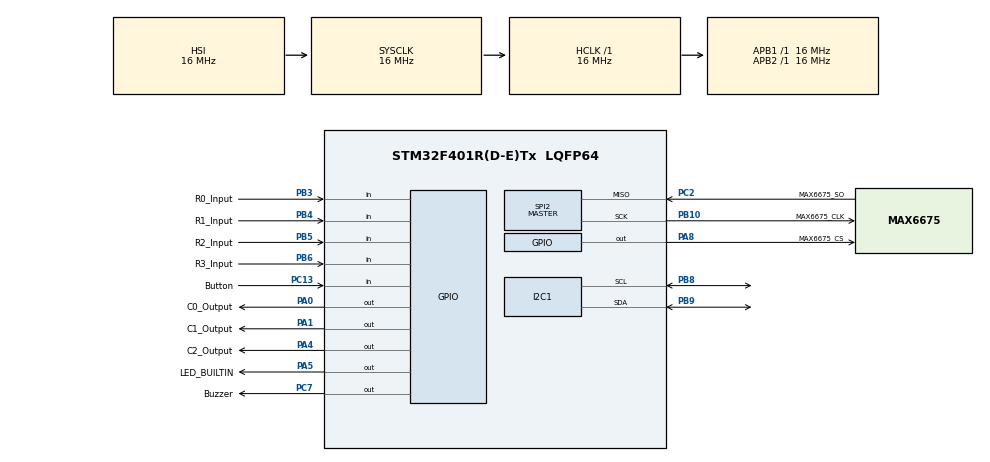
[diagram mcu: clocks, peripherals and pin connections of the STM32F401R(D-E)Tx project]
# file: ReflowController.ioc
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Mcu.Family=STM32F4
Mcu.Name=STM32F401R(D-E)Tx
Mcu.Package=LQFP64
NVIC.PriorityGroup=NVIC_PRIORITYGROUP_4
PA0-WKUP.GPIO_Label=C0_Output
PA0-WKUP.Signal=GPIO_Output
PA1.GPIO_Label=C1_Output
PA1.Signal=GPIO_Output
PA4.GPIO_Label=C2_Output
PA4.Signal=GPIO_Output
PA5.GPIO_Label=LED_BUILTIN
PA5.Signal=GPIO_Output
PA8.GPIO_Label=MAX6675_CS
PA8.GPIO_PuPd=GPIO_NOPULL
PA8.PinState=GPIO_PIN_SET
PA8.Signal=GPIO_Output
PB10.GPIO_Label=MAX6675_CLK
PB10.Mode=RX_Only_Simplex_Unidirect_Master
PB10.Signal=SPI2_SCK
PB3.GPIO_Label=R0_Input
PB3.GPIO_PuPd=GPIO_PULLDOWN
PB3.Signal=GPIO_Input
PB4.GPIO_Label=R1_Input
PB4.GPIO_PuPd=GPIO_PULLDOWN
PB4.Signal=GPIO_Input
PB5.GPIO_Label=R2_Input
PB5.GPIO_PuPd=GPIO_PULLDOWN
PB5.Signal=GPIO_Input
PB6.GPIO_Label=R3_Input
PB6.GPIO_PuPd=GPIO_PULLDOWN
PB6.Signal=GPIO_Input
PB8.Mode=I2C
PB8.Signal=I2C1_SCL
PB9.Mode=I2C
PB9.Signal=I2C1_SDA
PC13-ANTI_TAMP.GPIO_Label=Button
PC13-ANTI_TAMP.Signal=GPIO_Input
PC2.GPIO_Label=MAX6675_SO
PC2.Mode=RX_Only_Simplex_Unidirect_Master
PC2.Signal=SPI2_MISO
PC7.GPIO_Label=Buzzer
PC7.Signal=GPIO_Output
ProjectManager.HeapSize=0x200
ProjectManager.StackSize=0x400
ProjectManager.TargetToolchain=STM32CubeIDE
RCC.AHBFreq_Value=16000000
RCC.APB1Freq_Value=16000000
RCC.APB2Freq_Value=16000000
RCC.CortexFreq_Value=16000000
RCC.HSE_VALUE=25000000
RCC.HSI_VALUE=16000000
RCC.LSE_VALUE=32768
RCC.SYSCLKFreq_VALUE=16000000
RCC.VCOOutputFreq_Value=192000000
SPI2.BaudRatePrescaler=SPI_BAUDRATEPRESCALER_32
SPI2.Direction=SPI_DIRECTION_2LINES_RXONLY
SPI2.Mode=SPI_MODE_MASTER
SPI2.VirtualType=VM_MASTER
board=custom

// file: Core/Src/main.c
/* USER CODE BEGIN Header */
/**
  ******************************************************************************
  * @file           : main.c
  * @brief          : Main program body
  ******************************************************************************
  * @attention
  *
  * Copyright (c) 2025 STMicroelectronics.
  * All rights reserved.
  *
  * This software is licensed under terms that can be found in the LICENSE file
  * in the root directory of this software component.
  * If no LICENSE file comes with this software, it is provided AS-IS.
  *
  ******************************************************************************
  */
/* USER CODE END Header */
#include "main.h"

/* USER CODE BEGIN Includes */
#include "ssd1306_font5x7.h"
#include "ssd1306_font_num16x24.h"
#include <stdbool.h>
/* USER CODE END Includes */

/* USER CODE BEGIN PTD */
typedef enum
{
	STATE_INIT = 0,
	STATE_IDLE,
	STATE_CONFIG_PREHEAT,
	STATE_CONFIG_SOAK,
	STATE_CONFIG_REFLOW,
	STATE_CONFIG_COOLDOWN,
	STATE_CYCLE,
	STATE_STOP
} deviceState_t;
static deviceState_t currentDeviceState = STATE_INIT;

typedef enum
{
	STATE_CYCLE_INIT = 0,
	STATE_CYCLE_PREHEAT,
	STATE_CYCLE_SOAK,
	STATE_CYCLE_REFLOW,
	STATE_CYCLE_COOLDOWN
} cycleState_t;
static cycleState_t currentCycleState = STATE_CYCLE_INIT;
/* USER CODE END PTD */

I2C_HandleTypeDef hi2c1;

SPI_HandleTypeDef hspi2;

/* USER CODE BEGIN PV */
#define SSD1306_ADDR (0x3C << 1)	// I2C address for the OLED display controller

// Parameters for default curve
int preheat_target_c = 150;
int preheat_rate = 3;
int preheat_time_s = 100;
int soak_target_c = 150;
int soak_time_s = 100;
int reflow_peak_c = 240;
int reflow_peak_time_s = 10;
int reflow_total_time_s = 50;
int cooldown_rate = 4;
bool cooldown_door = true;

/**
uint32_t lastMillis_LED = 0;
#define DELAY_FAST_MS 50
#define DELAY_SLOW_MS 600

// While we do our scan we need to know if nothing ever came up
bool buttonPressed = false;

// This stores the last button presses detected
#define BUFFER_SIZE 5
int buffer[BUFFER_SIZE];
int finalBuffer[BUFFER_SIZE];
int bufferIdx = 0;
bool addedToBuffer = false;

uint32_t lastMillis_DisplayBuffer = 0;
#define BUF_DISP_INT_MS 10
**/
/* USER CODE END PV */

void SystemClock_Config(void);
static void MX_GPIO_Init(void);
static void MX_I2C1_Init(void);
static void MX_SPI2_Init(void);
/* USER CODE BEGIN PFP */
void float_to_string_1dp(float value, char *buffer);
uint16_t MAX6675_ReadRaw(void);
float MAX6675_ReadTempC(void);
void ssd1306_draw_big_digit(uint8_t x, uint8_t page, uint8_t digit);
void ssd1306_draw_big_number(uint8_t x, uint8_t page, uint32_t value);
void ssd1306_draw_char(uint8_t x, uint8_t page, char c);
void ssd1306_draw_string(uint8_t x, uint8_t page, const char *str);
void ssd1306_cmd(uint8_t cmd);
void ssd1306_data(uint8_t *data, size_t size);
void ssd1306_init(void);
void ssd1306_clear(void);
void ssd1306_char(uint8_t x, uint8_t page, const uint8_t *glyph);
/* USER CODE END PFP */

/* USER CODE BEGIN 0 */
void float_to_string_1dp(float value, char *buffer)
{
    int scaled = (int)(value * 10.0f);

    int int_part = scaled / 10;
    int frac_part = scaled % 10;

    if (frac_part < 0) frac_part = -frac_part;

    itoa(int_part, buffer, 10);

    int len = strlen(buffer);
    buffer[len] = '.';
    buffer[len + 1] = '0' + frac_part;
    buffer[len + 2] = '\0';
}

uint16_t MAX6675_ReadRaw(void)
{
    uint8_t rx[2] = {0};

    HAL_GPIO_WritePin(MAX6675_CS_GPIO_Port, MAX6675_CS_Pin, false);
    HAL_Delay(10);

    HAL_SPI_Receive(&hspi2, rx, 2, 100);

    HAL_GPIO_WritePin(MAX6675_CS_GPIO_Port, MAX6675_CS_Pin, true);

    printf((rx[0] << 8) | rx[1]);
    return (rx[0] << 8) | rx[1];
}

float MAX6675_ReadTempC(void)
{
    uint16_t raw = MAX6675_ReadRaw();

    if (raw & 0x4)
        return -1.0f;   // thermocouple open

    raw >>= 3;

    return raw * 0.25f;
}

void ssd1306_draw_big_digit(uint8_t x, uint8_t page, uint8_t digit)
{
    if (digit > 9)
        return;

    for (uint8_t p = 0; p < NUM_FONT_PAGES; p++)
    {
        ssd1306_cmd(0xB0 + page + p);
        ssd1306_cmd(0x00 + (x & 0x0F));
        ssd1306_cmd(0x10 + (x >> 4));

        ssd1306_data(
            (uint8_t *)font_num_16x24[digit][p],
            NUM_FONT_WIDTH
        );
    }
}

void ssd1306_draw_big_number(uint8_t x, uint8_t page, uint32_t value)
{
    char buf[10];
    snprintf(buf, sizeof(buf), "%lu", value);

    while (*buf)
    {
        ssd1306_draw_big_digit(x, page, *buf - '0');
        x += NUM_FONT_WIDTH + 2;  // spacing
        //buf++;
    }
}

void ssd1306_draw_string(uint8_t x, uint8_t page, const char *str)
{
    while (*str)
    {
        ssd1306_draw_char(x, page, *str++);
        x += 6;  // 5px glyph + 1px space

        if (x > 122)
            break;
    }
}

void ssd1306_draw_char(uint8_t x, uint8_t page, char c)
{
    if (c < 0x20 || c > 0x7E)
        c = '?';

    const uint8_t *glyph = font5x7[c - 0x20];

    ssd1306_cmd(0xB0 + page);
    ssd1306_cmd(0x00 + (x & 0x0F));
    ssd1306_cmd(0x10 + (x >> 4));

    ssd1306_data((uint8_t *)glyph, 5);

    uint8_t space = 0x00;
    ssd1306_data(&space, 1); // 1px spacing
}

void ssd1306_cmd(uint8_t cmd)
{
    uint8_t data[2] = {0x00, cmd};
    HAL_I2C_Master_Transmit(&hi2c1, SSD1306_ADDR, data, 2, HAL_MAX_DELAY);
}

void ssd1306_data(uint8_t *data, size_t size)
{
    uint8_t buf[129];
    buf[0] = 0x40;
    memcpy(&buf[1], data, size);
    HAL_I2C_Master_Transmit(&hi2c1, SSD1306_ADDR, buf, size + 1, HAL_MAX_DELAY);
}

void ssd1306_init(void)
{
    HAL_Delay(100);

    ssd1306_cmd(0xAE); // display off
    ssd1306_cmd(0x20); // memory addressing mode
    ssd1306_cmd(0x00); // horizontal addressing
    ssd1306_cmd(0xB0); // page start address
    ssd1306_cmd(0xC8); // COM scan direction
    ssd1306_cmd(0x00); // low column
    ssd1306_cmd(0x10); // high column
    ssd1306_cmd(0x40); // start line
    ssd1306_cmd(0x81); // contrast
    ssd1306_cmd(0x7F);
    ssd1306_cmd(0xA1); // segment remap
    ssd1306_cmd(0xA6); // normal display
    ssd1306_cmd(0xA8); // multiplex
    ssd1306_cmd(0x3F);
    ssd1306_cmd(0xA4); // display follows RAM
    ssd1306_cmd(0xD3); // display offset
    ssd1306_cmd(0x00);
    ssd1306_cmd(0xD5); // clock divide
    ssd1306_cmd(0x80);
    ssd1306_cmd(0xD9); // pre-charge
    ssd1306_cmd(0xF1);
    ssd1306_cmd(0xDA); // COM pins
    ssd1306_cmd(0x12);
    ssd1306_cmd(0xDB); // vcom detect
    ssd1306_cmd(0x40);
    ssd1306_cmd(0x8D); // charge pump
    ssd1306_cmd(0x14);
    ssd1306_cmd(0xAF); // display ON
}

void ssd1306_clear(void)
{
    uint8_t zero[128] = {0};

    for (uint8_t page = 0; page < 8; page++)
    {
        ssd1306_cmd(0xB0 + page);
        ssd1306_cmd(0x00);
        ssd1306_cmd(0x10);
        ssd1306_data(zero, 128);
    }
}

void ssd1306_char(uint8_t x, uint8_t page, const uint8_t *glyph)
{
    ssd1306_cmd(0xB0 + page);
    ssd1306_cmd(0x00 + (x & 0x0F));
    ssd1306_cmd(0x10 + (x >> 4));
    ssd1306_data((uint8_t *)glyph, 5);
}

/* USER CODE END 0 */

int main(void)
{

  /* MCU Configuration--------------------------------------------------------*/

  /* Reset of all peripherals, Initializes the Flash interface and the Systick. */
  HAL_Init();

  /* Configure the system clock */
  SystemClock_Config();

  /* Initialize all configured peripherals */
  MX_GPIO_Init();
  MX_I2C1_Init();
  MX_SPI2_Init();
  /* USER CODE BEGIN 2 */
  ssd1306_init();
  ssd1306_clear();
  /* USER CODE END 2 */

  /* Infinite loop */
  /* USER CODE BEGIN WHILE */
  while (1)
  {
	  // Main device state machine
	  switch (currentDeviceState)
	  {
	  case STATE_INIT:					// Init, first time tasks
		  ssd1306_clear();
		  ssd1306_draw_string(0,0,"REFLOW CONTROLLER");
		  ssd1306_draw_string(0,1,"MICHAEL PATE V2.0");
		  ssd1306_draw_string(0,3,"PRESS START");
		  currentDeviceState = STATE_IDLE;
		  break;
	  case STATE_IDLE:					// Waiting for user to do something
		  // testing, display temperature
		  float temp;
		  temp = 215.7f;
		  //temp = MAX6675_ReadTempC();

		  char text[5];

		  float_to_string_1dp(temp, text);
		  ssd1306_draw_string(0, 4, "      ");
		  ssd1306_draw_string(0, 4, text);
		  HAL_Delay(500);

		  //C0, R3 = START
		  HAL_GPIO_WritePin(C0_Output_GPIO_Port, C0_Output_Pin, true);
		  if (HAL_GPIO_ReadPin(R3_Input_GPIO_Port, R3_Input_Pin))
		  {
			  ssd1306_clear();
			  currentDeviceState = STATE_CONFIG_PREHEAT;
		  }
		  break;
	  case STATE_CONFIG_PREHEAT:				// Configure the reflow cycle, choose curves, times, temps
		  //We need to either choose a default curve or make our own

		  // Default curve settings
		  // Preheat: 150*C, <3*C/sec, 100sec
		  // Soak: 150*C, 120sec
		  // Reflow: Peak 240*C, >45sec above 217*C minimum, peak temp only 10 seconds
		  // Cooldown: 2-4*C/sec, recommend door slightly open

		  // Editing curves come in later edition
		  ssd1306_draw_string(0,0,"CONFIGURE PREHEAT");
		  ssd1306_draw_string(0,1,"------------------");
		  ssd1306_draw_string(0,2,"TARGET: 150*C");
		  ssd1306_draw_string(0,3,"RATE:     3");
		  ssd1306_draw_string(0,4,"TIME:   100SEC");
		  ssd1306_draw_string(0,7,"PRESS START OR STOP");

		  // Scan for either the start or stop button to go forward or backward
		  HAL_GPIO_WritePin(C0_Output_GPIO_Port, C0_Output_Pin, true);
		  HAL_GPIO_WritePin(C2_Output_GPIO_Port, C2_Output_Pin, false);
		  if (HAL_GPIO_ReadPin(R3_Input_GPIO_Port, R3_Input_Pin))
		  {
			  ssd1306_clear();
			  currentDeviceState = STATE_CONFIG_SOAK;
		  }
		  HAL_GPIO_WritePin(C0_Output_GPIO_Port, C0_Output_Pin, false);
		  HAL_GPIO_WritePin(C2_Output_GPIO_Port, C2_Output_Pin, true);
		  if (HAL_GPIO_ReadPin(R3_Input_GPIO_Port, R3_Input_Pin))
		  {
			  ssd1306_clear();
			  currentDeviceState = STATE_INIT;
		  }
		  break;
	  case STATE_CONFIG_SOAK:
		  ssd1306_draw_string(0,0,"CONFIGURE SOAK");
		  ssd1306_draw_string(0,1,"------------------");
		  ssd1306_draw_string(0,2,"TARGET: 150*C");
		  ssd1306_draw_string(0,3,"TIME:   100SEC");
		  ssd1306_draw_string(0,7,"PRESS START OR STOP");
		  HAL_GPIO_WritePin(C0_Output_GPIO_Port, C0_Output_Pin, true);
		  HAL_GPIO_WritePin(C2_Output_GPIO_Port, C2_Output_Pin, false);
		  if (HAL_GPIO_ReadPin(R3_Input_GPIO_Port, R3_Input_Pin))
		  {
			  ssd1306_clear();
			  currentDeviceState = STATE_CONFIG_REFLOW;
		  }
		  HAL_GPIO_WritePin(C0_Output_GPIO_Port, C0_Output_Pin, false);
		  HAL_GPIO_WritePin(C2_Output_GPIO_Port, C2_Output_Pin, true);
		  if (HAL_GPIO_ReadPin(R3_Input_GPIO_Port, R3_Input_Pin))
		  {
			  ssd1306_clear();
			  currentDeviceState = STATE_CONFIG_PREHEAT;
		  }
		  break;
	  case STATE_CONFIG_REFLOW:
		  ssd1306_draw_string(0,0,"CONFIGURE REFLOW");
		  ssd1306_draw_string(0,1,"------------------");
		  ssd1306_draw_string(0,2,"TARGET: 240*C");
		  ssd1306_draw_string(0,3,"PEAK:    10SEC");
		  ssd1306_draw_string(0,4,"TOTAL:   50SEC");
		  ssd1306_draw_string(0,7,"PRESS START OR STOP");
		  HAL_GPIO_WritePin(C0_Output_GPIO_Port, C0_Output_Pin, true);
		  HAL_GPIO_WritePin(C2_Output_GPIO_Port, C2_Output_Pin, false);
		  if (HAL_GPIO_ReadPin(R3_Input_GPIO_Port, R3_Input_Pin))
		  {
			  ssd1306_clear();
			  currentDeviceState = STATE_CONFIG_COOLDOWN;
		  }
		  HAL_GPIO_WritePin(C0_Output_GPIO_Port, C0_Output_Pin, false);
		  HAL_GPIO_WritePin(C2_Output_GPIO_Port, C2_Output_Pin, true);
		  if (HAL_GPIO_ReadPin(R3_Input_GPIO_Port, R3_Input_Pin))
		  {
			  ssd1306_clear();
			  currentDeviceState = STATE_CONFIG_SOAK;
		  }
		  break;
	  case STATE_CONFIG_COOLDOWN:
		  ssd1306_draw_string(0,0,"CONFIGURE COOLDOWN");
		  ssd1306_draw_string(0,1,"------------------");
		  ssd1306_draw_string(0,2,"RATE:     4");
		  ssd1306_draw_string(0,3,"DOOR:  OPEN");
		  ssd1306_draw_string(0,5,"READY TO REFLOW");
		  ssd1306_draw_string(0,6,"CYCLE WILL START NEXT");
		  ssd1306_draw_string(0,7,"PRESS START OR STOP");
		  HAL_GPIO_WritePin(C0_Output_GPIO_Port, C0_Output_Pin, true);
		  HAL_GPIO_WritePin(C2_Output_GPIO_Port, C2_Output_Pin, false);
		  if (HAL_GPIO_ReadPin(R3_Input_GPIO_Port, R3_Input_Pin))
		  {
			  ssd1306_clear();
			  currentDeviceState = STATE_CYCLE;
		  }
		  HAL_GPIO_WritePin(C0_Output_GPIO_Port, C0_Output_Pin, false);
		  HAL_GPIO_WritePin(C2_Output_GPIO_Port, C2_Output_Pin, true);
		  if (HAL_GPIO_ReadPin(R3_Input_GPIO_Port, R3_Input_Pin))
		  {
			  ssd1306_clear();
			  currentDeviceState = STATE_CONFIG_REFLOW;
		  }
		  break;
	  case STATE_CYCLE:					// Run the cycle, listen for stop input, manage PID loop
		  // We enter the next state machine
		  switch (currentCycleState)
		  {
		  case STATE_CYCLE_INIT:
			  currentCycleState = STATE_CYCLE_PREHEAT;
			  break;
		  case STATE_CYCLE_PREHEAT:
			  break;
		  case STATE_CYCLE_SOAK:
			  break;
		  case STATE_CYCLE_REFLOW:
			  break;
		  case STATE_CYCLE_COOLDOWN:

			  // At the end of the cycle
			  // if temp < thresh, set currentCycleState to STATE_CYCLE_INIT
			  //    and set currentDeviceState to STATE_STOP
			  break;
		  }
		  break;
	  case STATE_STOP:					// Cleanup tasks before returning to idle state
		  break;
	  }

	  /**
	  // Program loop 1, button state changes blink rate
	  // If the button is pressed, blink faster. Otherwise, blink slowly
	  if (!HAL_GPIO_ReadPin(Button_GPIO_Port, Button_Pin))
	  {
		  if (HAL_GetTick() - lastMillis_LED >= DELAY_FAST_MS)
		  {
			  lastMillis_LED = HAL_GetTick();
			  HAL_GPIO_TogglePin(LED_BUILTIN_GPIO_Port, LED_BUILTIN_Pin);
		  }
		  //ssd1306_draw_string(0,0,"BUTTON PRESSED    ");
	  }
	  else
	  {
		  if (HAL_GetTick() - lastMillis_LED >= DELAY_SLOW_MS)
		  {
			  lastMillis_LED = HAL_GetTick();
			  HAL_GPIO_TogglePin(LED_BUILTIN_GPIO_Port, LED_BUILTIN_Pin);
		  }
		  //ssd1306_draw_string(0,0,"                         ");
	  }

	  // Program loop 2, scan through the keypad to read for pressed keys
	  // For each output, read RB3-RB6 to determine which key is pressed
	  buttonPressed = false;
	  HAL_GPIO_WritePin(C0_Output_GPIO_Port, C0_Output_Pin, true);
	  HAL_GPIO_WritePin(C1_Output_GPIO_Port, C1_Output_Pin, false);
	  HAL_GPIO_WritePin(C2_Output_GPIO_Port, C2_Output_Pin, false);
	  if (HAL_GPIO_ReadPin(R0_Input_GPIO_Port, R0_Input_Pin))			// C0, R0 = 7
	  {
		  if (bufferIdx >= BUFFER_SIZE)
		  {
			  bufferIdx = 0;
		  }
		  if (addedToBuffer == false)
		  {
			  buffer[bufferIdx] = 7;
			  bufferIdx++;
			  addedToBuffer = true;
		  }

		  ssd1306_draw_string(0, 1, "7");
		  buttonPressed = true;
	  }
	  if (HAL_GPIO_ReadPin(R1_Input_GPIO_Port, R1_Input_Pin))			// C0, R1 = 4
	  {
		  if (bufferIdx >= BUFFER_SIZE)
		  {
			  bufferIdx = 0;
		  }
		  if (addedToBuffer == false)
		  {
			  buffer[bufferIdx] = 4;
			  bufferIdx++;
			  addedToBuffer = true;
		  }

		  ssd1306_draw_string(0, 1, "4");
		  buttonPressed = true;
	  }
	  if (HAL_GPIO_ReadPin(R2_Input_GPIO_Port, R2_Input_Pin))			// C0, R2 = 1
	  {
		  if (bufferIdx >= BUFFER_SIZE)
		  {
			  bufferIdx = 0;
		  }
		  if (addedToBuffer == false)
		  {
			  buffer[bufferIdx] = 1;
			  bufferIdx++;
			  addedToBuffer = true;
		  }

		  ssd1306_draw_string(0, 1, "1");
		  buttonPressed = true;
	  }
	  if (HAL_GPIO_ReadPin(R3_Input_GPIO_Port, R3_Input_Pin))			// C0, R3 = START
	  {
		  // The "START" button transfers the input buffer to the final buffer
		  if (addedToBuffer == false)
		  {
			  for (int idx=0; idx<BUFFER_SIZE; idx++)
			  {
				  finalBuffer[idx]=buffer[idx];
			  }

			  // After transferring, clear out the input buffer and reset
			  for (int idx=0; idx<BUFFER_SIZE; idx++)
			  {
				  buffer[idx]=0;
			  }
			  bufferIdx = 0;
			  addedToBuffer = true;
		  }

		  ssd1306_draw_string(0, 1, "START");
		  buttonPressed = true;
	  }
	  HAL_GPIO_WritePin(C0_Output_GPIO_Port, C0_Output_Pin, false);
	  HAL_GPIO_WritePin(C1_Output_GPIO_Port, C1_Output_Pin, true);
	  HAL_GPIO_WritePin(C2_Output_GPIO_Port, C2_Output_Pin, false);
	  if (HAL_GPIO_ReadPin(R0_Input_GPIO_Port, R0_Input_Pin))			// C1, R0 = 8
	  {
		  if (bufferIdx >= BUFFER_SIZE)
		  {
			  bufferIdx = 0;
		  }
		  if (addedToBuffer == false)
		  {
			  buffer[bufferIdx] = 8;
			  bufferIdx++;
			  addedToBuffer = true;
		  }

		  ssd1306_draw_string(0, 1, "8");
		  buttonPressed = true;
	  }
	  if (HAL_GPIO_ReadPin(R1_Input_GPIO_Port, R1_Input_Pin))			// C1, R1 = 5
	  {
		  if (bufferIdx >= BUFFER_SIZE)
		  {
			  bufferIdx = 0;
		  }
		  if (addedToBuffer == false)
		  {
			  buffer[bufferIdx] = 5;
			  bufferIdx++;
			  addedToBuffer = true;
		  }

		  ssd1306_draw_string(0, 1, "5");
		  buttonPressed = true;
	  }
	  if (HAL_GPIO_ReadPin(R2_Input_GPIO_Port, R2_Input_Pin))			// C1, R2 = 2
	  {
		  if (bufferIdx >= BUFFER_SIZE)
		  {
			  bufferIdx = 0;
		  }
		  if (addedToBuffer == false)
		  {
			  buffer[bufferIdx] = 2;
			  bufferIdx++;
			  addedToBuffer = true;
		  }

		  ssd1306_draw_string(0, 1, "2");
		  buttonPressed = true;
	  }
	  if (HAL_GPIO_ReadPin(R3_Input_GPIO_Port, R3_Input_Pin))			// C1, R3 = 0
	  {
		  if (bufferIdx >= BUFFER_SIZE)
		  {
			  bufferIdx = 0;
		  }
		  if (addedToBuffer == false)
		  {
			  buffer[bufferIdx] = 0;
			  bufferIdx++;
			  addedToBuffer = true;
		  }

		  ssd1306_draw_string(0, 1, "0");
		  buttonPressed = true;
	  }
	  HAL_GPIO_WritePin(C0_Output_GPIO_Port, C0_Output_Pin, false);
	  HAL_GPIO_WritePin(C1_Output_GPIO_Port, C1_Output_Pin, false);
	  HAL_GPIO_WritePin(C2_Output_GPIO_Port, C2_Output_Pin, true);
	  if (HAL_GPIO_ReadPin(R0_Input_GPIO_Port, R0_Input_Pin))			// C2, R0 = 9
	  {
		  if (bufferIdx >= BUFFER_SIZE)
		  {
			  bufferIdx = 0;
		  }
		  if (addedToBuffer == false)
		  {
			  buffer[bufferIdx] = 9;
			  bufferIdx++;
			  addedToBuffer = true;
		  }

		  ssd1306_draw_string(0, 1, "9");
		  buttonPressed = true;
	  }
	  if (HAL_GPIO_ReadPin(R1_Input_GPIO_Port, R1_Input_Pin))			// C2, R1 = 6
	  {
		  if (bufferIdx >= BUFFER_SIZE)
		  {
			  bufferIdx = 0;
		  }
		  if (addedToBuffer == false)
		  {
			  buffer[bufferIdx] = 6;
			  bufferIdx++;
			  addedToBuffer = true;
		  }

		  ssd1306_draw_string(0, 1, "6");
		  buttonPressed = true;
	  }
	  if (HAL_GPIO_ReadPin(R2_Input_GPIO_Port, R2_Input_Pin))			// C2, R2 = 3
	  {
		  if (bufferIdx >= BUFFER_SIZE)
		  {
			  bufferIdx = 0;
		  }
		  if (addedToBuffer == false)
		  {
			  buffer[bufferIdx] = 3;
			  bufferIdx++;
			  addedToBuffer = true;
		  }

		  ssd1306_draw_string(0, 1, "3");
		  buttonPressed = true;
	  }
	  if (HAL_GPIO_ReadPin(R3_Input_GPIO_Port, R3_Input_Pin))			// C2, R3 = STOP
	  {
		  // The "STOP" button clears the buffer and erases all inputted numbers
		  if (addedToBuffer == false)
		  {
			  for (int idx=0; idx<BUFFER_SIZE; idx++)
			  {
				  buffer[idx]=0;
			  }
			  bufferIdx = 0;
			  addedToBuffer = true;
		  }

		  ssd1306_draw_string(0, 1, "STOP");
		  buttonPressed = true;
	  }

	  // We never caught a button press during that scan cycle, so nothing was pressed
	  if (buttonPressed == false)
	  {
		  ssd1306_draw_string(0, 1, "      ");
		  addedToBuffer = false;
	  }

	  // We want to display the buffer of stored digits, but only on an interval
	  if (HAL_GetTick() - lastMillis_DisplayBuffer >= BUF_DISP_INT_MS)
	  {
		  // We also want to print a "-" at the current buffer index
		  ssd1306_draw_string(0,4,"        ");
		  ssd1306_draw_char(bufferIdx*7, 4, '-');

		  for (int idx=0; idx<BUFFER_SIZE; idx++)
		  {
			  ssd1306_draw_char(idx*7, 3, (char)((int)buffer[idx] + '0'));
			  ssd1306_draw_char(idx*7, 5, (char)((int)finalBuffer[idx] + '0'));
		  }
		  lastMillis_DisplayBuffer = HAL_GetTick();
	  }
	  **/

    /* USER CODE END WHILE */

  }
}

void SystemClock_Config(void)
{
  RCC_OscInitTypeDef RCC_OscInitStruct = {0};
  RCC_ClkInitTypeDef RCC_ClkInitStruct = {0};

  /** Configure the main internal regulator output voltage
  */
  __HAL_RCC_PWR_CLK_ENABLE();
  __HAL_PWR_VOLTAGESCALING_CONFIG(PWR_REGULATOR_VOLTAGE_SCALE2);

  /** Initializes the RCC Oscillators according to the specified parameters
  * in the RCC_OscInitTypeDef structure.
  */
  RCC_OscInitStruct.OscillatorType = RCC_OSCILLATORTYPE_HSI;
  RCC_OscInitStruct.HSIState = RCC_HSI_ON;
  RCC_OscInitStruct.HSICalibrationValue = RCC_HSICALIBRATION_DEFAULT;
  RCC_OscInitStruct.PLL.PLLState = RCC_PLL_NONE;
  if (HAL_RCC_OscConfig(&RCC_OscInitStruct) != HAL_OK)
  {
    Error_Handler();
  }

  /** Initializes the CPU, AHB and APB buses clocks
  */
  RCC_ClkInitStruct.ClockType = RCC_CLOCKTYPE_HCLK|RCC_CLOCKTYPE_SYSCLK
                              |RCC_CLOCKTYPE_PCLK1|RCC_CLOCKTYPE_PCLK2;
  RCC_ClkInitStruct.SYSCLKSource = RCC_SYSCLKSOURCE_HSI;
  RCC_ClkInitStruct.AHBCLKDivider = RCC_SYSCLK_DIV1;
  RCC_ClkInitStruct.APB1CLKDivider = RCC_HCLK_DIV1;
  RCC_ClkInitStruct.APB2CLKDivider = RCC_HCLK_DIV1;

  if (HAL_RCC_ClockConfig(&RCC_ClkInitStruct, FLASH_LATENCY_0) != HAL_OK)
  {
    Error_Handler();
  }
}

static void MX_I2C1_Init(void)
{

  hi2c1.Instance = I2C1;
  hi2c1.Init.ClockSpeed = 100000;
  hi2c1.Init.DutyCycle = I2C_DUTYCYCLE_2;
  hi2c1.Init.OwnAddress1 = 0;
  hi2c1.Init.AddressingMode = I2C_ADDRESSINGMODE_7BIT;
  hi2c1.Init.DualAddressMode = I2C_DUALADDRESS_DISABLE;
  hi2c1.Init.OwnAddress2 = 0;
  hi2c1.Init.GeneralCallMode = I2C_GENERALCALL_DISABLE;
  hi2c1.Init.NoStretchMode = I2C_NOSTRETCH_DISABLE;
  if (HAL_I2C_Init(&hi2c1) != HAL_OK)
  {
    Error_Handler();
  }

}

static void MX_SPI2_Init(void)
{

  /* SPI2 parameter configuration*/
  hspi2.Instance = SPI2;
  hspi2.Init.Mode = SPI_MODE_MASTER;
  hspi2.Init.Direction = SPI_DIRECTION_2LINES_RXONLY;
  hspi2.Init.DataSize = SPI_DATASIZE_8BIT;
  hspi2.Init.CLKPolarity = SPI_POLARITY_LOW;
  hspi2.Init.CLKPhase = SPI_PHASE_1EDGE;
  hspi2.Init.NSS = SPI_NSS_SOFT;
  hspi2.Init.BaudRatePrescaler = SPI_BAUDRATEPRESCALER_32;
  hspi2.Init.FirstBit = SPI_FIRSTBIT_MSB;
  hspi2.Init.TIMode = SPI_TIMODE_DISABLE;
  hspi2.Init.CRCCalculation = SPI_CRCCALCULATION_DISABLE;
  hspi2.Init.CRCPolynomial = 10;
  if (HAL_SPI_Init(&hspi2) != HAL_OK)
  {
    Error_Handler();
  }

}

static void MX_GPIO_Init(void)
{
  GPIO_InitTypeDef GPIO_InitStruct = {0};

  /* GPIO Ports Clock Enable */
  __HAL_RCC_GPIOC_CLK_ENABLE();
  __HAL_RCC_GPIOA_CLK_ENABLE();
  __HAL_RCC_GPIOB_CLK_ENABLE();

  /*Configure GPIO pin Output Level */
  HAL_GPIO_WritePin(GPIOA, C0_Output_Pin|C1_Output_Pin|C2_Output_Pin|LED_BUILTIN_Pin, GPIO_PIN_RESET);

  /*Configure GPIO pin Output Level */
  HAL_GPIO_WritePin(Buzzer_GPIO_Port, Buzzer_Pin, GPIO_PIN_RESET);

  /*Configure GPIO pin Output Level */
  HAL_GPIO_WritePin(MAX6675_CS_GPIO_Port, MAX6675_CS_Pin, GPIO_PIN_SET);

  /*Configure GPIO pin : Button_Pin */
  GPIO_InitStruct.Pin = Button_Pin;
  GPIO_InitStruct.Mode = GPIO_MODE_INPUT;
  GPIO_InitStruct.Pull = GPIO_NOPULL;
  HAL_GPIO_Init(Button_GPIO_Port, &GPIO_InitStruct);

  /*Configure GPIO pins : C0_Output_Pin C1_Output_Pin C2_Output_Pin LED_BUILTIN_Pin
                           MAX6675_CS_Pin */
  GPIO_InitStruct.Pin = C0_Output_Pin|C1_Output_Pin|C2_Output_Pin|LED_BUILTIN_Pin
                          |MAX6675_CS_Pin;
  GPIO_InitStruct.Mode = GPIO_MODE_OUTPUT_PP;
  GPIO_InitStruct.Pull = GPIO_NOPULL;
  GPIO_InitStruct.Speed = GPIO_SPEED_FREQ_LOW;
  HAL_GPIO_Init(GPIOA, &GPIO_InitStruct);

  /*Configure GPIO pin : Buzzer_Pin */
  GPIO_InitStruct.Pin = Buzzer_Pin;
  GPIO_InitStruct.Mode = GPIO_MODE_OUTPUT_PP;
  GPIO_InitStruct.Pull = GPIO_NOPULL;
  GPIO_InitStruct.Speed = GPIO_SPEED_FREQ_LOW;
  HAL_GPIO_Init(Buzzer_GPIO_Port, &GPIO_InitStruct);

  /*Configure GPIO pins : R0_Input_Pin R1_Input_Pin R2_Input_Pin R3_Input_Pin */
  GPIO_InitStruct.Pin = R0_Input_Pin|R1_Input_Pin|R2_Input_Pin|R3_Input_Pin;
  GPIO_InitStruct.Mode = GPIO_MODE_INPUT;
  GPIO_InitStruct.Pull = GPIO_PULLDOWN;
  HAL_GPIO_Init(GPIOB, &GPIO_InitStruct);

}

void Error_Handler(void)
{
  __disable_irq();
  while (1)
  {
  }
}
